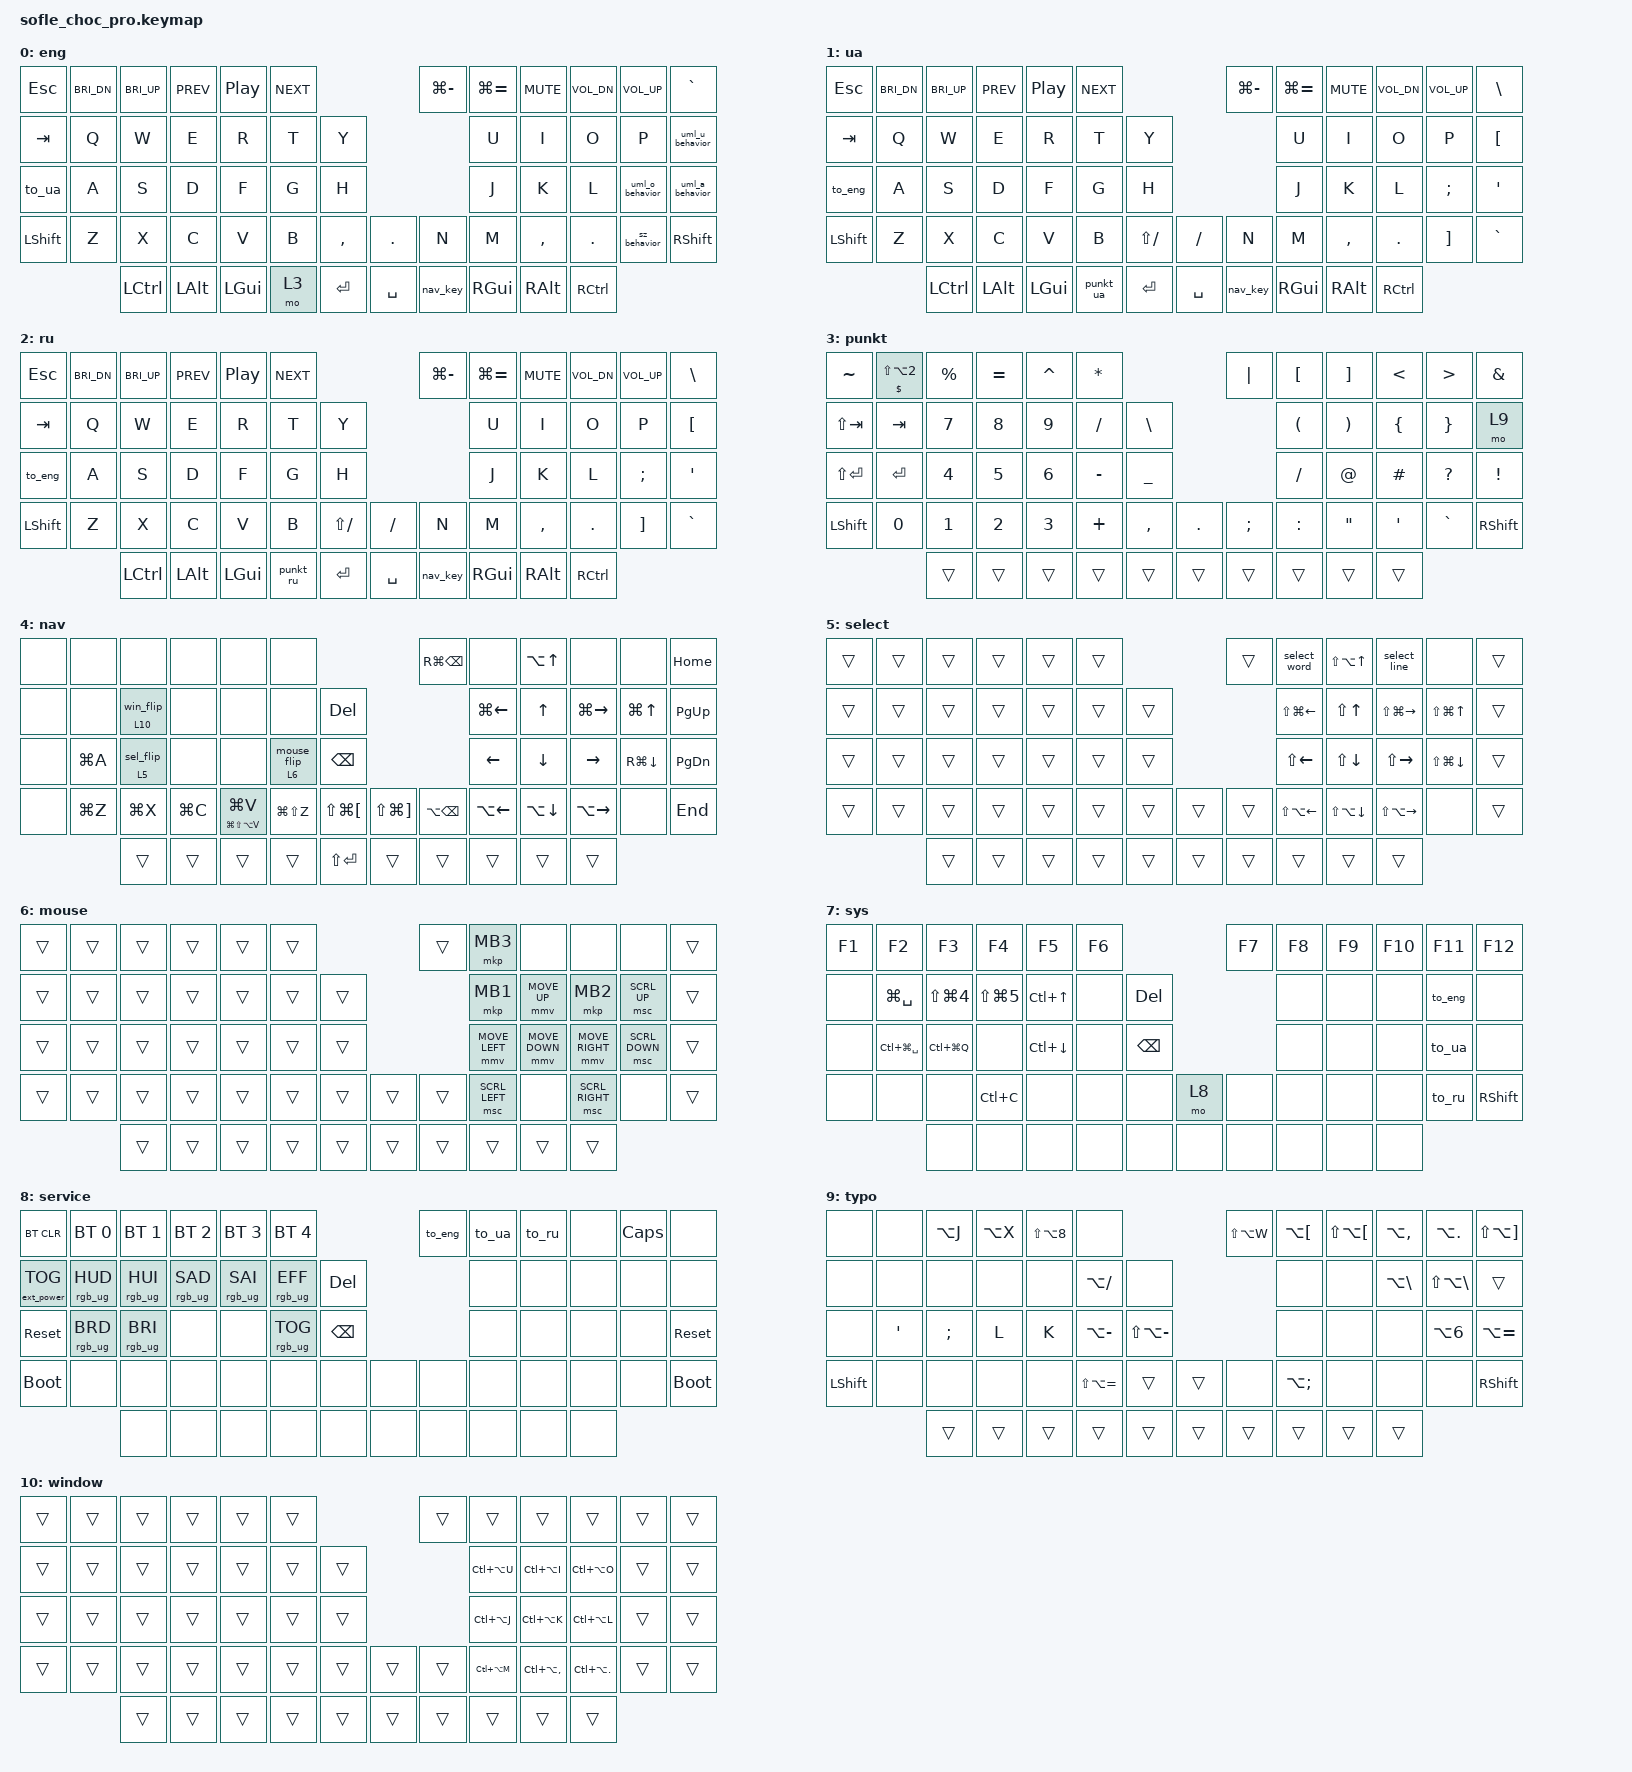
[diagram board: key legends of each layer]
/*
* Copyright (c) 2020 The ZMK Contributors
*
* SPDX-License-Identifier: MIT
*/

#include <behaviors.dtsi>
#include <dt-bindings/zmk/bt.h>
#include <dt-bindings/zmk/ext_power.h>
#include <dt-bindings/zmk/keys.h>
#include <dt-bindings/zmk/pointing.h>
#include <dt-bindings/zmk/rgb.h>

// Layer indices; bindings below use the numbers directly

#define ENG 0
#define UA 1
#define RU 2
#define PUNKT 3
#define NAV 4
#define SEL 5
#define MOUSE 6
#define SYS 7
#define SERVICE 8
#define TYPO 9
#define WIN 10

/ {
    // Activate sys layer by holding punkt and nav together

    conditional_layers {
        compatible = "zmk,conditional-layers";

        punkt_nav_to_sys {
            if-layers = <3 4>;
            then-layer = <7>;
        };
    };

    macros {
        uml_u_small: uml_u_small {
            compatible = "zmk,behavior-macro";
            #binding-cells = <0>;
            bindings = <&kp LA(U) &kp U>;
            label = "UML_U_SMALL";
        };

        // Capital umlauts are typed with Shift held; the mod-morph masks it.
        // Option goes down in its own report so Shift disappears before U:
        // Karabiner handles key downs before modifier ups within one report,
        // which turned Shift-up + Option-U into Shift+Option+U ("¨").

        uml_u_big: uml_u_big {
            compatible = "zmk,behavior-macro";
            #binding-cells = <0>;
            wait-ms = <0>;
            tap-ms = <10>;
            bindings =
                <&macro_press>,
                <&kp LALT>,
                <&macro_tap>,
                <&kp U>,
                <&macro_release>,
                <&kp LALT>,
                <&macro_tap>,
                <&kp LS(U)>;

            label = "UML_U_BIG";
        };

        uml_o_big: uml_o_big {
            compatible = "zmk,behavior-macro";
            #binding-cells = <0>;
            wait-ms = <0>;
            tap-ms = <10>;
            bindings =
                <&macro_press>,
                <&kp LALT>,
                <&macro_tap>,
                <&kp U>,
                <&macro_release>,
                <&kp LALT>,
                <&macro_tap>,
                <&kp LS(O)>;

            label = "UML_O_BIG";
        };

        uml_o_small: uml_o_small {
            compatible = "zmk,behavior-macro";
            #binding-cells = <0>;
            bindings = <&kp LA(U) &kp O>;
            label = "UML_O_SMALL";
        };

        uml_a_big: uml_a_big {
            compatible = "zmk,behavior-macro";
            #binding-cells = <0>;
            wait-ms = <0>;
            tap-ms = <10>;
            bindings =
                <&macro_press>,
                <&kp LALT>,
                <&macro_tap>,
                <&kp U>,
                <&macro_release>,
                <&kp LALT>,
                <&macro_tap>,
                <&kp LS(A)>;

            label = "UML_A_BIG";
        };

        uml_a_small: uml_a_small {
            compatible = "zmk,behavior-macro";
            #binding-cells = <0>;
            bindings = <&kp LA(U) &kp A>;
            label = "UML_A_SMALL";
        };

        del_line: del_line {
            compatible = "zmk,behavior-macro";
            #binding-cells = <0>;
            bindings = <&kp LG(LEFT) &kp LS(LG(RIGHT)) &kp BACKSPACE>;
            label = "DEL_LINE";
        };

        sz_shifted: sz_shifted {
            compatible = "zmk,behavior-macro";
            #binding-cells = <0>;
            wait-ms = <0>;
            tap-ms = <10>;
            bindings =
                <&macro_press>,
                <&kp LALT>,
                <&macro_tap>,
                <&kp S>,
                <&macro_release>,
                <&kp LALT>;

            label = "SZ_SHIFTED";
        };

        select_word: select_word {
            compatible = "zmk,behavior-macro";
            #binding-cells = <0>;
            bindings = <&kp LA(LEFT) &kp LS(LA(RIGHT))>;
            label = "SELECT_WORD";
        };

        punkt_ua: punkt_ua {
            compatible = "zmk,behavior-macro";
            #binding-cells = <0>;
            wait-ms = <0>;
            tap-ms = <10>;
            bindings =
                <&macro_press>,
                <&mo 3>,
                <&macro_tap>,
                <&kp LANG1>,
                <&macro_pause_for_release>,
                <&macro_release>,
                <&mo 3>,
                <&macro_tap>,
                <&kp LANG2>;

            label = "PUNKT_UA";
        };

        punkt_ru: punkt_ru {
            compatible = "zmk,behavior-macro";
            #binding-cells = <0>;
            wait-ms = <0>;
            tap-ms = <10>;
            bindings =
                <&macro_press>,
                <&mo 3>,
                <&macro_tap>,
                <&kp LANG1>,
                <&macro_pause_for_release>,
                <&macro_release>,
                <&mo 3>,
                <&macro_tap>,
                <&kp LANG3>;

            label = "PUNKT_RU";
        };

        // nav while held; releasing it also turns off a tapped sub-layer

        nav_key: nav_key {
            compatible = "zmk,behavior-macro";
            #binding-cells = <0>;
            wait-ms = <0>;
            tap-ms = <10>;
            bindings =
                <&macro_press>,
                <&mo 4>,
                <&macro_pause_for_release>,
                <&macro_release>,
                <&mo 4>,
                <&macro_tap>,
                <&tog_off 5 &tog_off 6 &tog_off 10>;

            label = "NAV_KEY";
        };

        sel_flip: sel_flip {
            compatible = "zmk,behavior-macro";
            #binding-cells = <0>;
            wait-ms = <0>;
            tap-ms = <10>;
            bindings = <&tog_off 6 &tog_off 10 &tog 5>;
            label = "SEL_FLIP";
        };

        mouse_flip: mouse_flip {
            compatible = "zmk,behavior-macro";
            #binding-cells = <0>;
            wait-ms = <0>;
            tap-ms = <10>;
            bindings = <&tog_off 5 &tog_off 10 &tog 6>;
            label = "MOUSE_FLIP";
        };

        win_flip: win_flip {
            compatible = "zmk,behavior-macro";
            #binding-cells = <0>;
            wait-ms = <0>;
            tap-ms = <10>;
            bindings = <&tog_off 5 &tog_off 6 &tog 10>;
            label = "WIN_FLIP";
        };

        to_ua: to_ua {
            compatible = "zmk,behavior-macro";
            #binding-cells = <0>;
            bindings = <&kp LANG2 &to 1>;
            label = "TO_UA";
        };

        to_eng: to_eng {
            compatible = "zmk,behavior-macro";
            #binding-cells = <0>;
            bindings = <&kp LANG1 &to 0>;
            label = "TO_ENG";
        };

        to_ru: to_ru {
            compatible = "zmk,behavior-macro";
            #binding-cells = <0>;
            bindings = <&kp LANG3 &to 2>;
            label = "TO_RU";
        };

        select_line: select_line {
            compatible = "zmk,behavior-macro";
            #binding-cells = <0>;
            bindings = <&kp LG(LEFT) &kp LS(LG(RIGHT))>;
            label = "SELECT_LINE";
        };
    };

    behaviors {
        tog_off: tog_off {
            compatible = "zmk,behavior-toggle-layer";
            #binding-cells = <1>;
            toggle-mode = "off";
        };

        // nav sub-layers: hold = while held, tap = stay on (tap again or
        // release nav to leave); only one sub-layer is on at a time

        nav_sel: nav_sel {
            compatible = "zmk,behavior-hold-tap";
            label = "NAV_SEL";
            #binding-cells = <2>;
            bindings = <&mo>, <&sel_flip>;

            flavor = "hold-preferred";
            tapping-term-ms = <200>;
        };

        nav_win: nav_win {
            compatible = "zmk,behavior-hold-tap";
            label = "NAV_WIN";
            #binding-cells = <2>;
            bindings = <&mo>, <&win_flip>;

            flavor = "hold-preferred";
            tapping-term-ms = <200>;
        };

        nav_mouse: nav_mouse {
            compatible = "zmk,behavior-hold-tap";
            label = "NAV_MOUSE";
            #binding-cells = <2>;
            bindings = <&mo>, <&mouse_flip>;

            flavor = "hold-preferred";
            tapping-term-ms = <200>;
        };

        // € on tap, $ on hold

        eur_usd: eur_usd {
            compatible = "zmk,behavior-hold-tap";
            label = "EUR_USD";
            #binding-cells = <2>;
            bindings = <&kp>, <&kp>;

            flavor = "tap-preferred";
            tapping-term-ms = <200>;
        };

        uml_a_behavior: uml_a_behavior {
            compatible = "zmk,behavior-mod-morph";
            label = "UML_A_BEHAVIOR";
            bindings = <&uml_a_small>, <&uml_a_big>;

            #binding-cells = <0>;
            mods = <(MOD_LSFT|MOD_RSFT)>;
        };

        uml_o_behavior: uml_o_behavior {
            compatible = "zmk,behavior-mod-morph";
            label = "UML_O_BEHAVIOR";
            bindings = <&uml_o_small>, <&uml_o_big>;

            #binding-cells = <0>;
            mods = <(MOD_LSFT|MOD_RSFT)>;
        };

        uml_u_behavior: uml_u_behavior {
            compatible = "zmk,behavior-mod-morph";
            label = "UML_U_BEHAVIOR";
            bindings = <&uml_u_small>, <&uml_u_big>;

            #binding-cells = <0>;
            mods = <(MOD_LSFT|MOD_RSFT)>;
        };

        sz_behavior: sz_behavior {
            compatible = "zmk,behavior-mod-morph";
            label = "SZ_BEHAVIOR";
            bindings = <&kp LA(S)>, <&sz_shifted>;

            #binding-cells = <0>;
            mods = <(MOD_LSFT|MOD_RSFT)>;
        };
    };

    combos {
        compatible = "zmk,combos";

        ls_combo {
            bindings = <&kp LSHFT>;
            key-positions = <27 28>;
            slow-release;
            layers = <0 1 2>;
            timeout-ms = <70>;
        };

        rs_combo {
            bindings = <&kp RSHFT>;
            key-positions = <31 32>;
            slow-release;
            layers = <0 1 2>;
            timeout-ms = <70>;
        };
    };

    keymap {
        compatible = "zmk,keymap";

        eng {
            display-name = "eng";
            bindings = <
&kp ESC    &kp C_BRI_DN  &kp C_BRI_UP      &kp C_PREV  &kp C_PP  &kp C_NEXT                         &kp LG(MINUS)  &kp LG(EQUAL)  &kp C_MUTE  &kp C_VOL_DN       &kp C_VOL_UP     &kp GRAVE
&kp TAB    &kp Q         &kp W             &kp E       &kp R     &kp T       &kp Y                                 &kp U          &kp I       &kp O              &kp P            &uml_u_behavior
&to_ua     &kp A         &kp S             &kp D       &kp F     &kp G       &kp H                                 &kp J          &kp K       &kp L              &uml_o_behavior  &uml_a_behavior
&kp LSHFT  &kp Z         &kp X             &kp C       &kp V     &kp B       &kp COMMA  &kp PERIOD  &kp N          &kp M          &kp COMMA   &kp DOT            &sz_behavior     &kp RSHFT
                         &kp LEFT_CONTROL  &kp LALT    &kp LGUI  &mo 3       &kp RET    &kp SPACE   &nav_key       &kp RIGHT_GUI  &kp RALT    &kp RIGHT_CONTROL
            >;
        };

        ua {
            display-name = "ua";
            bindings = <
&kp ESC    &kp C_BRI_DN  &kp C_BRI_UP  &kp C_PREV  &kp C_PP  &kp C_NEXT                            &kp LG(MINUS)  &kp LG(EQUAL)  &kp C_MUTE  &kp C_VOL_DN  &kp C_VOL_UP       &kp BACKSLASH
&kp TAB    &kp Q         &kp W         &kp E       &kp R     &kp T       &kp Y                                    &kp U          &kp I       &kp O         &kp P              &kp LBKT
&to_eng    &kp A         &kp S         &kp D       &kp F     &kp G       &kp H                                    &kp J          &kp K       &kp L         &kp SEMI           &kp APOS
&kp LSHFT  &kp Z         &kp X         &kp C       &kp V     &kp B       &kp LS(SLASH)  &kp SLASH  &kp N          &kp M          &kp COMMA   &kp DOT       &kp RIGHT_BRACKET  &kp GRAVE
                         &kp LCTRL     &kp LALT    &kp LGUI  &punkt_ua   &kp ENTER      &kp SPACE  &nav_key       &kp RGUI       &kp RALT    &kp RCTRL
            >;
        };

        ru {
            display-name = "ru";
            bindings = <
&kp ESC    &kp C_BRI_DN  &kp C_BRI_UP  &kp C_PREV  &kp C_PP  &kp C_NEXT                            &kp LG(MINUS)  &kp LG(EQUAL)  &kp C_MUTE  &kp C_VOL_DN  &kp C_VOL_UP       &kp BACKSLASH
&kp TAB    &kp Q         &kp W         &kp E       &kp R     &kp T       &kp Y                                    &kp U          &kp I       &kp O         &kp P              &kp LBKT
&to_eng    &kp A         &kp S         &kp D       &kp F     &kp G       &kp H                                    &kp J          &kp K       &kp L         &kp SEMI           &kp APOS
&kp LSHFT  &kp Z         &kp X         &kp C       &kp V     &kp B       &kp LS(SLASH)  &kp SLASH  &kp N          &kp M          &kp COMMA   &kp DOT       &kp RIGHT_BRACKET  &kp GRAVE
                         &kp LCTRL     &kp LALT    &kp LGUI  &punkt_ru   &kp ENTER      &kp SPACE  &nav_key       &kp RGUI       &kp RALT    &kp RCTRL
            >;
        };

        punkt {
            display-name = "punkt";
            bindings = <
&kp TILDE       &eur_usd DOLLAR LS(LA(N2))  &kp PERCENT  &kp EQUAL  &kp CARET  &kp ASTERISK                           &kp PIPE       &kp LBKT   &kp RBKT           &kp LT    &kp GT        &kp AMPERSAND
&kp LS(TAB)     &kp TAB                     &kp N7       &kp N8     &kp N9     &kp SLASH     &kp BACKSLASH                           &kp LPAR   &kp RPAR           &kp LBRC  &kp RBRC      &mo 9
&kp LS(ENTER)   &kp ENTER                   &kp N4       &kp N5     &kp N6     &kp MINUS     &kp UNDERSCORE                          &kp SLASH  &kp AT             &kp HASH  &kp QUESTION  &kp EXCLAMATION
&kp LEFT_SHIFT  &kp N0                      &kp N1       &kp N2     &kp N3     &kp PLUS      &kp COMMA       &kp DOT  &kp SEMICOLON  &kp COLON  &kp DOUBLE_QUOTES  &kp SQT   &kp GRAVE     &kp RIGHT_SHIFT
                                            &trans       &trans     &trans     &trans        &trans          &trans   &trans         &trans     &trans             &trans
            >;
        };

        nav {
            display-name = "nav";
            bindings = <
&none  &none      &none          &none      &none                    &none                                                                &kp RG(BACKSPACE)  &none               &kp LA(UP)    &none          &none         &kp HOME
&none  &none      &nav_win 10 0  &none      &none                    &none           &kp DEL                                                                 &kp LG(LEFT)        &kp UP        &kp LG(RIGHT)  &kp LG(UP)    &kp PAGE_UP
&none  &kp LG(A)  &nav_sel 5 0   &none      &none                    &nav_mouse 6 0  &kp BACKSPACE                                                           &kp LEFT            &kp DOWN      &kp RIGHT      &kp RG(DOWN)  &kp PAGE_DOWN
&none  &kp LG(Z)  &kp LG(X)      &kp LG(C)  &mt LG(LS(LA(V))) LG(V)  &kp LG(LS(Z))   &kp LS(LG(LEFT_BRACKET))  &kp LS(LG(RIGHT_BRACKET))  &kp LA(BACKSPACE)  &kp LA(LEFT_ARROW)  &kp LA(DOWN)  &kp LA(RIGHT)  &none         &kp END
                  &trans         &trans     &trans                   &trans          &kp LS(ENTER)             &trans                     &trans             &trans              &trans        &trans
            >;
        };

        select {
            display-name = "select";
            bindings = <
&trans  &trans  &trans  &trans  &trans  &trans                  &trans  &select_word      &kp LS(LA(UP))    &select_line       &none             &trans
&trans  &trans  &trans  &trans  &trans  &trans  &trans                  &kp LS(LG(LEFT))  &kp LS(UP)        &kp LS(LG(RIGHT))  &kp LS(LG(UP))    &trans
&trans  &trans  &trans  &trans  &trans  &trans  &trans                  &kp LS(LEFT)      &kp LS(DOWN)      &kp LS(RIGHT)      &kp LS(LG(DOWN))  &trans
&trans  &trans  &trans  &trans  &trans  &trans  &trans  &trans  &trans  &kp LS(LA(LEFT))  &kp LS(LA(DOWN))  &kp LS(LA(RIGHT))  &none             &trans
                &trans  &trans  &trans  &trans  &trans  &trans  &trans  &trans            &trans            &trans
            >;
        };

        mouse {
            display-name = "mouse";
            bindings = <
&trans  &trans  &trans  &trans  &trans  &trans                  &trans  &mkp MB3        &none           &none            &none           &trans
&trans  &trans  &trans  &trans  &trans  &trans  &trans                  &mkp MB1        &mmv MOVE_UP    &mkp MB2         &msc SCRL_UP    &trans
&trans  &trans  &trans  &trans  &trans  &trans  &trans                  &mmv MOVE_LEFT  &mmv MOVE_DOWN  &mmv MOVE_RIGHT  &msc SCRL_DOWN  &trans
&trans  &trans  &trans  &trans  &trans  &trans  &trans  &trans  &trans  &msc SCRL_LEFT  &none           &msc SCRL_RIGHT  &none           &trans
                &trans  &trans  &trans  &trans  &trans  &trans  &trans  &trans          &trans          &trans
            >;
        };

        sys {
            display-name = "sys";
            bindings = <
&kp F1  &kp F2             &kp F3          &kp F4          &kp F5        &kp F6                        &kp F7  &kp F8  &kp F9  &kp F10  &kp F11  &kp F12
&none   &kp LG(SPACE)      &kp LS(LG(N4))  &kp LS(LG(N5))  &kp LC(UP)    &none   &kp DEL                       &none   &none   &none    &to_eng  &none
&none   &kp LC(LG(SPACE))  &kp LC(LG(Q))   &none           &kp LC(DOWN)  &none   &kp BACKSPACE                 &none   &none   &none    &to_ua   &none
&none   &none              &none           &kp LC(C)       &none         &none   &none          &mo 8  &none   &none   &none   &none    &to_ru   &kp RIGHT_SHIFT
                           &none           &none           &none         &none   &none          &none  &none   &none   &none   &none
            >;
        };

        service {
            display-name = "service";
            bindings = <
&bt BT_CLR         &bt BT_SEL 0     &bt BT_SEL 1     &bt BT_SEL 2     &bt BT_SEL 3     &bt BT_SEL 4                           &to_eng  &to_ua  &to_ru  &none  &kp CAPSLOCK  &none
&ext_power EP_TOG  &rgb_ug RGB_HUD  &rgb_ug RGB_HUI  &rgb_ug RGB_SAD  &rgb_ug RGB_SAI  &rgb_ug RGB_EFF  &kp DEL                        &none   &none   &none  &none         &none
&sys_reset         &rgb_ug RGB_BRD  &rgb_ug RGB_BRI  &none            &none            &rgb_ug RGB_TOG  &kp BACKSPACE                  &none   &none   &none  &none         &sys_reset
&bootloader        &none            &none            &none            &none            &none            &none          &none  &none    &none   &none   &none  &none         &bootloader
                                    &none            &none            &none            &none            &none          &none  &none    &none   &none   &none
            >;
        };

        typo {
            display-name = "typo";
            bindings = <
&none           &none    &kp LA(J)  &kp LA(X)  &kp LS(LA(N8))  &none                                         &kp LS(LA(W))  &kp LA(LEFT_BRACKET)  &kp LS(LA(LEFT_BRACKET))  &kp LA(COMMA)      &kp LA(DOT)            &kp LS(LA(RIGHT_BRACKET))
&none           &none    &none      &none      &none           &kp LA(SLASH)      &none                                     &none                 &none                     &kp LA(BACKSLASH)  &kp LS(LA(BACKSLASH))  &trans
&none           &kp SQT  &kp SEMI   &kp L      &kp K           &kp LA(MINUS)      &kp LS(LA(MINUS))                         &none                 &none                     &none              &kp LA(N6)             &kp LA(EQUAL)
&kp LEFT_SHIFT  &none    &none      &none      &none           &kp LS(LA(EQUAL))  &trans             &trans  &none          &kp LA(SEMICOLON)     &none                     &none              &none                  &kp RIGHT_SHIFT
                         &trans     &trans     &trans          &trans             &trans             &trans  &trans         &trans                &trans                    &trans
            >;
        };

        window {
            display-name = "window";
            bindings = <
&trans  &trans  &trans  &trans  &trans  &trans                  &trans  &trans         &trans             &trans           &trans  &trans
&trans  &trans  &trans  &trans  &trans  &trans  &trans                  &kp LC(LA(U))  &kp LC(LA(I))      &kp LC(LA(O))    &trans  &trans
&trans  &trans  &trans  &trans  &trans  &trans  &trans                  &kp LC(LA(J))  &kp LC(LA(K))      &kp LC(LA(L))    &trans  &trans
&trans  &trans  &trans  &trans  &trans  &trans  &trans  &trans  &trans  &kp LC(LA(M))  &kp LC(LA(COMMA))  &kp LC(LA(DOT))  &trans  &trans
                &trans  &trans  &trans  &trans  &trans  &trans  &trans  &trans         &trans             &trans
            >;
        };
    };
};
